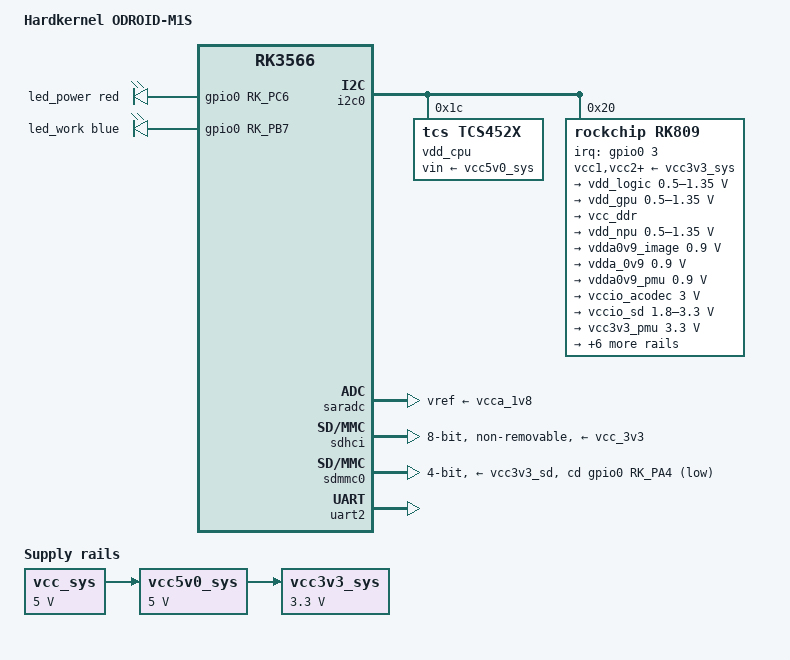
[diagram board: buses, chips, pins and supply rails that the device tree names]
// SPDX-License-Identifier: (GPL-2.0+ OR MIT)
/*
 * Copyright (c) 2024 KyuHyuk Lee <lee@kyuhyuk.kr>
 *
 */

/dts-v1/;
#include <dt-bindings/gpio/gpio.h>
#include <dt-bindings/leds/common.h>
#include <dt-bindings/pinctrl/rockchip.h>
#include "rk3566.dtsi"

/ {
	model = "Hardkernel ODROID-M1S";
	compatible = "rockchip,rk3566-odroid-m1s", "rockchip,rk3566";

	aliases {
		i2c0 = &i2c3;
		i2c3 = &i2c0;
		spi0 = &spi1;
		spi1 = &spi0;
		mmc0 = &sdmmc0;
		mmc1 = &sdhci;
		serial0 = &uart6;
		serial1 = &uart0;
		serial6 = &uart1;
	};

	chosen {
		stdout-path = "serial2:1500000n8";
	};

	leds {
		compatible = "gpio-leds";

		led_power: led-0 {
			gpios = <&gpio0 RK_PC6 GPIO_ACTIVE_HIGH>;
			function = LED_FUNCTION_POWER;
			color = <LED_COLOR_ID_RED>;
			linux,default-trigger = "default-on";
			pinctrl-names = "default";
			pinctrl-0 = <&led_power_pin>;
		};
		led_work: led-1 {
			gpios = <&gpio0 RK_PB7 GPIO_ACTIVE_HIGH>;
			function = LED_FUNCTION_HEARTBEAT;
			color = <LED_COLOR_ID_BLUE>;
			linux,default-trigger = "heartbeat";
			pinctrl-names = "default";
			pinctrl-0 = <&led_work_pin>;
		};
	};

	vcc_sys: vcc-sys-regulator {
		compatible = "regulator-fixed";
		regulator-name = "vcc_sys";
		regulator-always-on;
		regulator-boot-on;
		regulator-min-microvolt = <5000000>;
		regulator-max-microvolt = <5000000>;
	};

	vcc3v3_sys: vcc3v3-sys-regulator {
		compatible = "regulator-fixed";
		regulator-name = "vcc3v3_sys";
		regulator-always-on;
		regulator-boot-on;
		regulator-min-microvolt = <3300000>;
		regulator-max-microvolt = <3300000>;
		vin-supply = <&vcc5v0_sys>;
	};

	vcc5v0_sys: vcc5v0-sys-regulator {
		compatible = "regulator-fixed";
		regulator-name = "vcc5v0_sys";
		regulator-always-on;
		regulator-boot-on;
		regulator-min-microvolt = <5000000>;
		regulator-max-microvolt = <5000000>;
		vin-supply = <&vcc_sys>;
	};
};

&cpu0 {
	cpu-supply = <&vdd_cpu>;
};

&cpu1 {
	cpu-supply = <&vdd_cpu>;
};

&cpu2 {
	cpu-supply = <&vdd_cpu>;
};

&cpu3 {
	cpu-supply = <&vdd_cpu>;
};

&i2c0 {
	status = "okay";

	vdd_cpu: regulator@1c {
		compatible = "tcs,tcs452x";
		reg = <0x1c>;
		fcs,suspend-voltage-selector = <1>;
		regulator-name = "vdd_cpu";
		regulator-always-on;
		regulator-boot-on;
		regulator-min-microvolt = <712500>;
		regulator-max-microvolt = <1390000>;
		regulator-init-microvolt = <900000>;
		regulator-ramp-delay = <2300>;
		vin-supply = <&vcc5v0_sys>;

		regulator-state-mem {
			regulator-off-in-suspend;
		};
	};

	rk809: pmic@20 {
		compatible = "rockchip,rk809";
		reg = <0x20>;
		interrupt-parent = <&gpio0>;
		interrupts = <3 IRQ_TYPE_LEVEL_LOW>;
		#clock-cells = <1>;
		pinctrl-names = "default";
		pinctrl-0 = <&pmic_int_l>;
		rockchip,system-power-controller;
		vcc1-supply = <&vcc3v3_sys>;
		vcc2-supply = <&vcc3v3_sys>;
		vcc3-supply = <&vcc3v3_sys>;
		vcc4-supply = <&vcc3v3_sys>;
		vcc5-supply = <&vcc3v3_sys>;
		vcc6-supply = <&vcc3v3_sys>;
		vcc7-supply = <&vcc3v3_sys>;
		vcc8-supply = <&vcc3v3_sys>;
		vcc9-supply = <&vcc3v3_sys>;
		wakeup-source;

		regulators {
			vdd_logic: DCDC_REG1 {
				regulator-always-on;
				regulator-boot-on;
				regulator-min-microvolt = <500000>;
				regulator-max-microvolt = <1350000>;
				regulator-init-microvolt = <900000>;
				regulator-ramp-delay = <6001>;
				regulator-initial-mode = <0x2>;
				regulator-name = "vdd_logic";
				regulator-state-mem {
					regulator-off-in-suspend;
				};
			};

			vdd_gpu: DCDC_REG2 {
				regulator-always-on;
				regulator-boot-on;
				regulator-min-microvolt = <500000>;
				regulator-max-microvolt = <1350000>;
				regulator-init-microvolt = <900000>;
				regulator-ramp-delay = <6001>;
				regulator-initial-mode = <0x2>;
				regulator-name = "vdd_gpu";
				regulator-state-mem {
					regulator-off-in-suspend;
				};
			};

			vcc_ddr: DCDC_REG3 {
				regulator-always-on;
				regulator-boot-on;
				regulator-initial-mode = <0x2>;
				regulator-name = "vcc_ddr";
				regulator-state-mem {
					regulator-on-in-suspend;
				};
			};

			vdd_npu: DCDC_REG4 {
				regulator-always-on;
				regulator-boot-on;
				regulator-min-microvolt = <500000>;
				regulator-max-microvolt = <1350000>;
				regulator-init-microvolt = <900000>;
				regulator-ramp-delay = <6001>;
				regulator-initial-mode = <0x2>;
				regulator-name = "vdd_npu";
				regulator-state-mem {
					regulator-off-in-suspend;
				};
			};

			vdda0v9_image: LDO_REG1 {
				regulator-boot-on;
				regulator-always-on;
				regulator-min-microvolt = <900000>;
				regulator-max-microvolt = <900000>;
				regulator-name = "vdda0v9_image";
				regulator-state-mem {
					regulator-off-in-suspend;
				};
			};

			vdda_0v9: LDO_REG2 {
				regulator-always-on;
				regulator-boot-on;
				regulator-min-microvolt = <900000>;
				regulator-max-microvolt = <900000>;
				regulator-name = "vdda_0v9";
				regulator-state-mem {
					regulator-off-in-suspend;
				};
			};

			vdda0v9_pmu: LDO_REG3 {
				regulator-always-on;
				regulator-boot-on;
				regulator-min-microvolt = <900000>;
				regulator-max-microvolt = <900000>;
				regulator-name = "vdda0v9_pmu";
				regulator-state-mem {
					regulator-on-in-suspend;
					regulator-suspend-microvolt = <900000>;
				};
			};

			vccio_acodec: LDO_REG4 {
				regulator-always-on;
				regulator-boot-on;
				regulator-min-microvolt = <3000000>;
				regulator-max-microvolt = <3000000>;
				regulator-name = "vccio_acodec";
				regulator-state-mem {
					regulator-off-in-suspend;
				};
			};

			vccio_sd: LDO_REG5 {
				regulator-always-on;
				regulator-boot-on;
				regulator-min-microvolt = <1800000>;
				regulator-max-microvolt = <3300000>;
				regulator-name = "vccio_sd";
				regulator-state-mem {
					regulator-off-in-suspend;
				};
			};

			vcc3v3_pmu: LDO_REG6 {
				regulator-always-on;
				regulator-boot-on;
				regulator-min-microvolt = <3300000>;
				regulator-max-microvolt = <3300000>;
				regulator-name = "vcc3v3_pmu";
				regulator-state-mem {
					regulator-on-in-suspend;
					regulator-suspend-microvolt = <3300000>;
				};
			};

			vcca_1v8: LDO_REG7 {
				regulator-always-on;
				regulator-boot-on;
				regulator-min-microvolt = <1800000>;
				regulator-max-microvolt = <1800000>;
				regulator-name = "vcca_1v8";
				regulator-state-mem {
					regulator-off-in-suspend;
				};
			};

			vcca1v8_ddr: LDO_REG8 {
				regulator-always-on;
				regulator-boot-on;
				regulator-min-microvolt = <1800000>;
				regulator-max-microvolt = <1800000>;
				regulator-name = "vcca1v8_pmu";
				regulator-state-mem {
					regulator-on-in-suspend;
					regulator-suspend-microvolt = <1800000>;
				};
			};

			vcca1v8_image: LDO_REG9 {
				regulator-always-on;
				regulator-boot-on;
				regulator-min-microvolt = <1800000>;
				regulator-max-microvolt = <1800000>;
				regulator-name = "vcca1v8_image";
				regulator-state-mem {
					regulator-off-in-suspend;
				};
			};

			vcc_1v8: DCDC_REG5 {
				regulator-always-on;
				regulator-boot-on;
				regulator-min-microvolt = <1800000>;
				regulator-max-microvolt = <1800000>;
				regulator-name = "vcc_1v8";
				regulator-state-mem {
					regulator-off-in-suspend;
				};
			};

			vcc_3v3: SWITCH_REG1 {
				regulator-always-on;
				regulator-boot-on;
				regulator-name = "vcc_3v3";
				regulator-state-mem {
					regulator-off-in-suspend;
				};
			};

			vcc3v3_sd: SWITCH_REG2 {
				regulator-always-on;
				regulator-boot-on;
				regulator-name = "vcc3v3_sd";
				regulator-state-mem {
					regulator-off-in-suspend;
				};
			};
		};
	};
};

&pinctrl {
	leds {
		led_power_pin: led-power-pin {
			rockchip,pins = <0 RK_PC6 RK_FUNC_GPIO &pcfg_pull_none>;
		};
		led_work_pin: led-work-pin {
			rockchip,pins = <0 RK_PB7 RK_FUNC_GPIO &pcfg_pull_none>;
		};
	};

	pmic {
		pmic_int_l: pmic-int-l {
			rockchip,pins =
				<0 RK_PA3 RK_FUNC_GPIO &pcfg_pull_up>;
		};
	};
};

&pmu_io_domains {
	pmuio2-supply = <&vcc3v3_pmu>;
	vccio1-supply = <&vccio_acodec>;
	vccio3-supply = <&vccio_sd>;
	vccio4-supply = <&vcc_3v3>;
	vccio5-supply = <&vcc_3v3>;
	vccio6-supply = <&vcc_3v3>;
	vccio7-supply = <&vcc_3v3>;
	status = "okay";
};

&saradc {
	vref-supply = <&vcca_1v8>;
	status = "okay";
};

&sdhci {
	bus-width = <8>;
	max-frequency = <200000000>;
	non-removable;
	pinctrl-names = "default";
	pinctrl-0 = <&emmc_bus8 &emmc_clk &emmc_cmd &emmc_datastrobe &emmc_rstnout>;
	vmmc-supply = <&vcc_3v3>;
	vqmmc-supply = <&vcc_1v8>;
	status = "okay";
};

&sdmmc0 {
	bus-width = <4>;
	cap-sd-highspeed;
	cd-gpios = <&gpio0 RK_PA4 GPIO_ACTIVE_LOW>;
	disable-wp;
	pinctrl-names = "default";
	pinctrl-0 = <&sdmmc0_bus4 &sdmmc0_clk &sdmmc0_cmd &sdmmc0_det>;
	sd-uhs-sdr104;
	vmmc-supply = <&vcc3v3_sd>;
	vqmmc-supply = <&vccio_sd>;
	status = "okay";
};

&uart2 {
	status = "okay";
};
